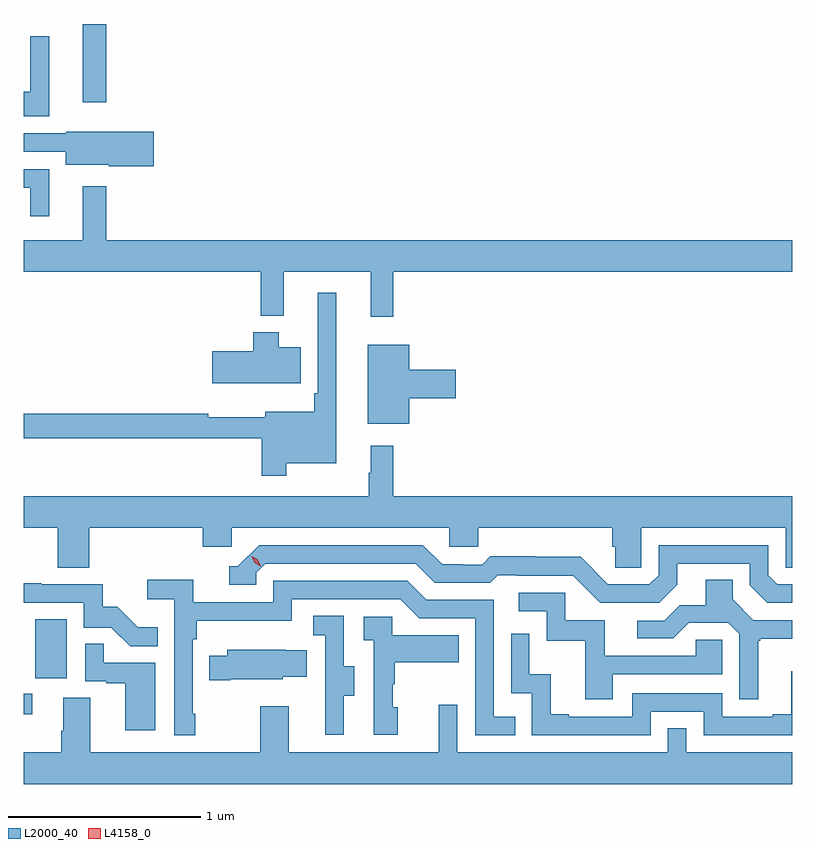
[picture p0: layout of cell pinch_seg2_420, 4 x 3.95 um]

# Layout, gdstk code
import gdstk
lib = gdstk.Library(unit=1e-6, precision=1e-09)
def R(c, l, rs):  # rectangles x0, y0, x1, y1
    for r in rs: c.add(gdstk.rectangle(r[:2], r[2:], *l))
def P(c, l, *ps):  # polygons
    for p in ps: c.add(gdstk.Polygon(p, *l))
L2000_40 = (2000, 40)
L4158_0 = (4158, 0)

pinch_seg2_420 = lib.new_cell('pinch_seg2_420')
R(pinch_seg2_420, L2000_40, [(936.044,620.028,936.088,620.133), (936.104,620.214,936.268,620.521), (936.353,623.211,936.475,623.618)])
P(pinch_seg2_420, L2000_40, [(936.178,623.554),(936.08,623.554),(936.08,623.266),(936.044,623.266),(936.044,623.138),(936.178,623.138)],
  [(936.721,623.057),(936.267,623.057),(936.267,623.049),(936.044,623.049),(936.044,622.953),(936.263,622.953),(936.263,622.886),(936.486,622.886),(936.486,622.879),(936.721,622.879)],
  [(936.178,622.863),(936.044,622.863),(936.044,622.767),(936.08,622.767),(936.08,622.617),(936.178,622.617)],
  [(937.967,622.328),(940.044,622.328),(940.044,622.492),(936.475,622.492),(936.475,622.774),(936.353,622.774),(936.353,622.492),(936.044,622.492),(936.044,622.328),(937.279,622.328),(937.279,622.1),(937.397,622.1),(937.397,622.328),(937.85,622.328),(937.85,622.095),(937.967,622.095)],
  [(937.411,621.332),(937.672,621.332),(937.672,622.219),(937.575,622.219),(937.575,621.697),(937.555,621.697),(937.555,621.601),(937.301,621.601),(937.301,621.571),(937.005,621.571),(937.005,621.59),(936.044,621.59),(936.044,621.462),(937.282,621.462),(937.282,621.267),(937.411,621.267)],
  [(937.486,621.937),(937.372,621.937),(937.372,622.015),(937.238,622.015),(937.238,621.915),(937.026,621.915),(937.026,621.749),(937.486,621.749)],
  [(938.05,621.671),(938.293,621.671),(938.293,621.818),(938.05,621.818),(938.05,621.949),(937.835,621.949),(937.835,621.539),(938.05,621.539)],
  [(936.386,620.996),(936.977,620.996),(936.977,620.898),(937.128,620.898),(937.128,620.996),(938.259,620.996),(938.259,620.898),(938.409,620.898),(938.409,620.996),(939.107,620.996),(939.107,620.898),(939.121,620.898),(939.121,620.788),(939.258,620.788),(939.258,620.996),(940.008,620.996),(940.008,620.788),(940.044,620.788),(940.044,621.16),(937.967,621.16),(937.967,621.424),(937.85,621.424),(937.85,621.284),(937.839,621.284),(937.839,621.16),(936.044,621.16),(936.044,620.996),(936.221,620.996),(936.221,620.788),(936.386,620.788)],
  [(939.445,620.701),(939.445,620.811),(939.822,620.811),(939.822,620.697),(939.912,620.607),(940.044,620.607),(940.044,620.703),(939.966,620.703),(939.918,620.751),(939.918,620.907),(939.348,620.907),(939.348,620.751),(939.3,620.703),(939.084,620.703),(938.942,620.845),(938.706,620.845),(938.706,620.848),(938.473,620.848),(938.431,620.805),(938.328,620.805),(938.328,620.808),(938.221,620.808),(938.122,620.907),(937.269,620.907),(937.158,620.796),(937.115,620.796),(937.115,620.7),(937.254,620.7),(937.254,620.763),(937.302,620.811),(938.085,620.811),(938.184,620.712),(938.473,620.712),(938.512,620.751),(938.611,620.751),(938.611,620.748),(938.904,620.748),(939.045,620.607),(939.351,620.607)],
  [(936.937,620.029),(936.924,620.029),(936.924,620.417),(936.944,620.417),(936.944,620.513),(937.44,620.513),(937.44,620.625),(938.004,620.625),(938.103,620.526),(938.394,620.526),(938.394,619.917),(938.603,619.917),(938.603,620.013),(938.49,620.013),(938.49,620.622),(938.14,620.622),(938.041,620.721),(937.344,620.721),(937.344,620.61),(936.926,620.61),(936.926,620.726),(936.687,620.726),(936.687,620.624),(936.828,620.624),(936.828,619.917),(936.937,619.917)],
  [(939.865,620.409),(939.877,620.409),(939.877,620.42),(940.044,620.42),(940.044,620.517),(939.84,620.517),(939.733,620.624),(939.733,620.726),(939.593,620.726),(939.593,620.594),(939.458,620.594),(939.378,620.514),(939.237,620.514),(939.237,620.421),(939.424,620.421),(939.505,620.502),(939.711,620.502),(939.768,620.445),(939.768,620.106),(939.865,620.106)],
  [(936.743,620.479),(936.639,620.479),(936.532,620.586),(936.456,620.586),(936.456,620.703),(936.137,620.703),(936.137,620.708),(936.044,620.708),(936.044,620.607),(936.357,620.607),(936.357,620.478),(936.501,620.478),(936.599,620.38),(936.743,620.38)],
  [(939.109,620.235),(939.678,620.235),(939.678,620.415),(939.541,620.415),(939.541,620.331),(939.067,620.331),(939.067,620.517),(938.862,620.517),(938.862,620.658),(938.619,620.658),(938.619,620.562),(938.766,620.562),(938.766,620.409),(938.965,620.409),(938.965,620.106),(939.109,620.106)],
  [(937.711,620.122),(937.765,620.122),(937.765,620.277),(937.71,620.277),(937.71,620.54),(937.551,620.54),(937.551,620.437),(937.614,620.437),(937.614,620.133),(937.613,620.133),(937.613,619.92),(937.711,619.92)],
  [(937.99,620.064),(937.965,620.064),(937.965,620.183),(937.975,620.183),(937.975,620.297),(938.309,620.297),(938.309,620.437),(937.962,620.437),(937.962,620.535),(937.815,620.535),(937.815,620.411),(937.866,620.411),(937.866,619.92),(937.99,619.92)],
  [(939.306,620.04),(939.582,620.04),(939.582,619.917),(940.044,619.917),(940.044,620.251),(940.037,620.251),(940.037,620.026),(939.941,620.026),(939.941,620.013),(939.678,620.013),(939.678,620.136),(939.21,620.136),(939.21,620.013),(938.881,620.013),(938.881,620.026),(938.786,620.026),(938.786,620.234),(938.676,620.234),(938.676,620.446),(938.58,620.446),(938.58,620.136),(938.688,620.136),(938.688,619.917),(939.306,619.917)],
  [(936.73,620.295),(936.461,620.295),(936.461,620.393),(936.366,620.393),(936.366,620.199),(936.473,620.199),(936.473,620.187),(936.572,620.187),(936.572,619.944),(936.73,619.944)],
  [(937.12,620.21),(937.392,620.21),(937.392,620.222),(937.517,620.222),(937.517,620.359),(937.409,620.359),(937.409,620.362),(937.103,620.362),(937.103,620.332),(937.009,620.332),(937.009,620.203),(937.12,620.203)],
  [(940.044,619.828),(939.492,619.828),(939.492,619.955),(939.396,619.955),(939.396,619.828),(938.301,619.828),(938.301,620.077),(938.204,620.077),(938.204,619.828),(937.423,619.828),(937.423,620.068),(937.276,620.068),(937.276,619.828),(936.391,619.828),(936.391,620.114),(936.251,620.114),(936.251,619.94),(936.239,619.94),(936.239,619.828),(936.044,619.828),(936.044,619.664),(940.044,619.664)])
P(pinch_seg2_420, L4158_0, [(937.278,620.797),(937.247,620.816),(937.23,620.848),(937.23,620.849),(937.23,620.849),(937.262,620.83),(937.278,620.797),(937.278,620.797)])

lib.write_gds('pinch_seg2_420.gds')
